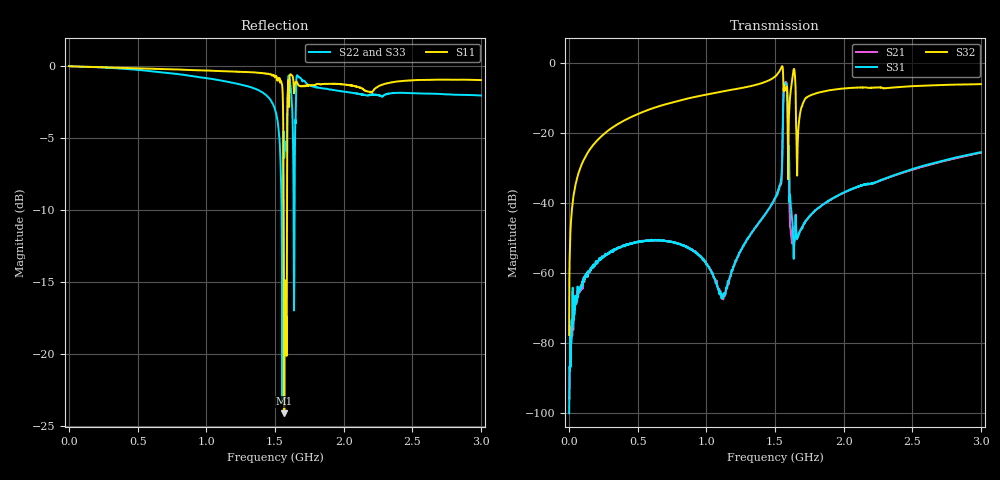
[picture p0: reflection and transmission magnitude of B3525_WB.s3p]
! Matrix data file written by TouchstoneData, EPCOS AG
! FILENAME: "B3525_WB.S3P_newformat"
! COMMENT: "(B3525_WB.S3P) Agilent Technologies,E5071B,M"
! INFO: nport=3, nfreq=1601
! DATE: "Wed May  5 13:07:33 2010"
! USER: "Sergey Rostovtsev"
! port | pin | signal
!  1  |  2  |  in
!  2  |  4  |  out
!  3  |  6  |  out
# MHZ S MA R 50
! freq  magS11 angS11  magS12 angS12  magS13 angS13  ...
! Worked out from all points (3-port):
!   1601 points, 300 kHz to 3 GHz, reference 50 ohm
!   strongest paths, dB at 300 kHz, 750.2 MHz, 1.5 GHz, 2.25 GHz, 3 GHz:
!     S32: -77.8, -11.3, -3.8, -7.0, -6.0
!     S31: -100.2, -51.2, -38.8, -33.8, -25.5
!     S21: -95.8, -51.2, -38.7, -33.9, -25.7
!   lowest |S11| = -24.1 dB at 1.568 GHz (marker M1), VSWR 1.13, Z = 54.5 - j4.72 ohm
!   |S11| at or under -10 dB: 1.563 GHz to 1.588 GHz (24.34 MHz wide, 1.54 % of centre)
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0.3  1.001 -0.0  6.114e-05 94.3  1.753e-05 -117.5
     1.62e-05 133.9  1.001 0.0  0.0001383 97.7
     9.736e-06 -140.2  0.0001285 84.5  1.001 -0.1
45.2955  0.9981 -4.4  0.0003811 83.8  0.0004496 76.8
         0.0003712 86.2  0.9985 -2.3  0.01761 87.0
         0.0004693 75.2  0.01763 87.0  0.9981 -2.4
212.1538  0.9917 -20.4  0.001484 71.5  0.001481 72.5
          0.00147 72.3  0.9914 -10.7  0.08044 78.5
          0.001485 71.8  0.08046 78.4  0.9907 -10.9
1123.313  0.9617 -99.3  0.0004324 119.7  0.0004411 122.4
          0.0004158 119.7  0.8894 -56.4  0.3932 33.1
          0.0004319 119.2  0.3935 33.1  0.8889 -55.4
1500.15  0.9141 -160.8  0.01152 160.9  0.01153 161.1
         0.01155 161.0  0.7076 -85.7  0.6426 3.0
         0.01153 161.1  0.6427 3.1  0.7083 -84.6
1541.396  0.8908 135.1  0.01804 138.2  0.01987 124.6
          0.01801 138.1  0.4467 -103.9  0.821 -18.1
          0.01988 124.7  0.8211 -18.0  0.4485 -101.8
1567.643  0.0623 -43.9  0.4972 -55.3  0.5129 124.8
          0.4982 -55.5  0.4813 -47.5  0.4912 -46.4
          0.5127 124.8  0.4906 -46.3  0.4693 -46.6
1620.138  0.9326 -73.3  0.003299 64.0  0.007384 37.0
          0.003288 64.0  0.7851 -79.2  0.483 6.5
          0.007394 36.8  0.4831 6.5  0.787 -77.4
1648.26  0.8766 -91.9  0.005043 41.0  0.003936 36.9
         0.005027 40.9  0.6517 -23.4  0.5359 -106.4
         0.003938 37.0  0.5355 -106.4  0.6585 -21.2
3000  0.8957 176.6  0.05181 129.8  0.05273 128.6
      0.05206 129.8  0.7915 -119.9  0.4977 -32.5
      0.05311 129.0  0.4988 -32.5  0.7865 -120.3
